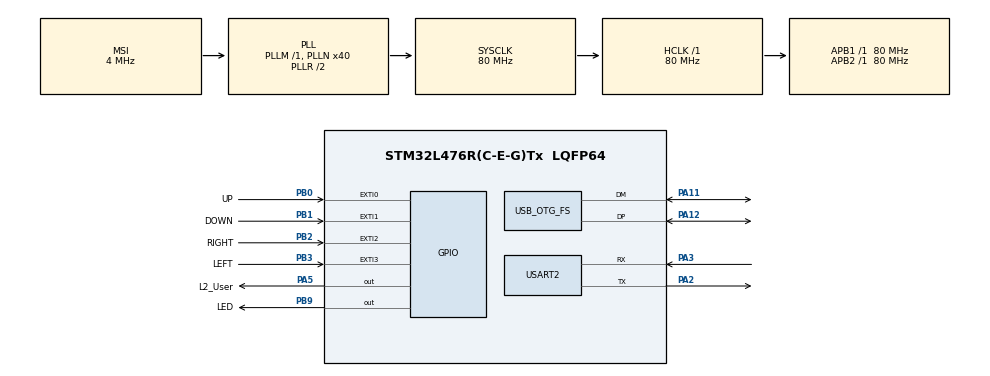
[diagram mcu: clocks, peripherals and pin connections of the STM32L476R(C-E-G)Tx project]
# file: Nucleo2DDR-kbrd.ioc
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Mcu.Family=STM32L4
Mcu.Name=STM32L476R(C-E-G)Tx
Mcu.Package=LQFP64
NVIC.EXTI0_IRQn=true\:0\:0\:false\:false\:true\:true\:true\:true
NVIC.EXTI1_IRQn=true\:0\:0\:false\:false\:true\:true\:true\:true
NVIC.EXTI2_IRQn=true\:0\:0\:false\:false\:true\:true\:true\:true
NVIC.EXTI3_IRQn=true\:0\:0\:false\:false\:true\:true\:true\:true
NVIC.OTG_FS_IRQn=true\:0\:0\:false\:false\:true\:false\:true\:true
NVIC.PriorityGroup=NVIC_PRIORITYGROUP_4
PA11.Mode=Device_Only
PA11.Signal=USB_OTG_FS_DM
PA12.Mode=Device_Only
PA12.Signal=USB_OTG_FS_DP
PA2.Mode=Asynchronous
PA2.Signal=USART2_TX
PA3.Mode=Asynchronous
PA3.Signal=USART2_RX
PA5.GPIO_Label=L2_User
PA5.Signal=GPIO_Output
PB0.GPIO_Label=UP
PB0.GPIO_ModeDefaultEXTI=GPIO_MODE_IT_RISING_FALLING
PB0.GPIO_PuPd=GPIO_PULLUP
PB0.Signal=GPXTI0
PB1.GPIO_Label=DOWN
PB1.GPIO_ModeDefaultEXTI=GPIO_MODE_IT_RISING_FALLING
PB1.GPIO_PuPd=GPIO_PULLUP
PB1.Signal=GPXTI1
PB2.GPIO_Label=RIGHT
PB2.GPIO_ModeDefaultEXTI=GPIO_MODE_IT_RISING_FALLING
PB2.GPIO_PuPd=GPIO_PULLUP
PB2.Signal=GPXTI2
PB3\ (JTDO-TRACESWO).GPIO_Label=LEFT
PB3\ (JTDO-TRACESWO).GPIO_ModeDefaultEXTI=GPIO_MODE_IT_RISING_FALLING
PB3\ (JTDO-TRACESWO).GPIO_PuPd=GPIO_PULLUP
PB3\ (JTDO-TRACESWO).Signal=GPXTI3
PB9.GPIO_Label=LED
PB9.Signal=GPIO_Output
PC14-OSC32_IN\ (PC14).Mode=LSE-External-Oscillator
PC14-OSC32_IN\ (PC14).Signal=RCC_OSC32_IN
PC15-OSC32_OUT\ (PC15).Mode=LSE-External-Oscillator
PC15-OSC32_OUT\ (PC15).Signal=RCC_OSC32_OUT
ProjectManager.HeapSize=0x200
ProjectManager.StackSize=0x400
ProjectManager.TargetToolchain=STM32CubeIDE
RCC.ADCFreq_Value=48000000
RCC.AHBFreq_Value=80000000
RCC.APB1Freq_Value=80000000
RCC.APB1TimFreq_Value=80000000
RCC.APB2Freq_Value=80000000
RCC.APB2TimFreq_Value=80000000
RCC.CortexFreq_Value=80000000
RCC.HCLKFreq_Value=80000000
RCC.HSE_VALUE=8000000
RCC.HSI_VALUE=16000000
RCC.MSI_VALUE=4000000
RCC.PLLN=40
RCC.PLLSAI1N=24
RCC.SYSCLKFreq_VALUE=80000000
RCC.SYSCLKSource=RCC_SYSCLKSOURCE_PLLCLK
RCC.USBFreq_Value=48000000
RCC.VCOOutputFreq_Value=160000000
USART2.VirtualMode-Asynchronous=VM_ASYNC
USB_DEVICE.CLASS_NAME_FS=CUSTOM_HID
USB_DEVICE.USBD_CUSTOM_HID_REPORT_DESC_SIZE=63
USB_DEVICE.VirtualMode=CustomHid
USB_DEVICE.VirtualModeFS=Custom_Hid_FS
USB_OTG_FS.VirtualMode=Device_Only
VP_USB_DEVICE_VS_USB_DEVICE_CUSTOM_HID_FS.Mode=CUSTOM_HID_FS
board=custom

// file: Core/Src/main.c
/* USER CODE BEGIN Header */
/**
  ******************************************************************************
  * @file           : main.c
  * @brief          : Main program body
  ******************************************************************************
  * @attention
  *
  * Copyright (c) 2026 STMicroelectronics.
  * All rights reserved.
  *
  * This software is licensed under terms that can be found in the LICENSE file
  * in the root directory of this software component.
  * If no LICENSE file comes with this software, it is provided AS-IS.
  *
  ******************************************************************************
  */
/* USER CODE END Header */
#include "main.h"
#include "usb_device.h"

/* USER CODE BEGIN Includes */
#include "usbd_customhid.h"
/* USER CODE END Includes */

/* USER CODE BEGIN PD */
//Définition des codes des touches
#define KEY_UP    0x52
#define KEY_DOWN  0x51
#define KEY_RIGHT 0x4F
#define KEY_LEFT  0x50
/* USER CODE END PD */

UART_HandleTypeDef huart2;

/* USER CODE BEGIN PV */
extern USBD_HandleTypeDef hUsbDeviceFS;	// Canal pour la communication USB
uint8_t keyboardReport[8] = {0};		// Buffer de 8 octets pour le rapport USB à envoyer
volatile uint8_t event_detected = 0;	// Signaler un changement d'état
/* USER CODE END PV */

void SystemClock_Config(void);
static void MX_GPIO_Init(void);
static void MX_USART2_UART_Init(void);

int main(void)
{

  /* MCU Configuration--------------------------------------------------------*/

  /* Reset of all peripherals, Initializes the Flash interface and the Systick. */
  HAL_Init();

  /* Configure the system clock */
  SystemClock_Config();

  /* Initialize all configured peripherals */
  MX_GPIO_Init();
  MX_USART2_UART_Init();
  MX_USB_DEVICE_Init();

  /* Infinite loop */
  while (1)
  {

    /* USER CODE BEGIN 3 */
	  if (event_detected){
	      HAL_Delay(20); // Anti-rebond basique
	      for (int i = 2; i < 8; i++) keyboardReport[i] = (int) NULL;

	      uint8_t key_index = 2;

	      // Vérification indépendante de chaque touche
	      if (HAL_GPIO_ReadPin(GPIOB, GPIO_PIN_0) == GPIO_PIN_RESET) {
	          keyboardReport[key_index++] = KEY_UP;
	      }
	      if (HAL_GPIO_ReadPin(GPIOB, GPIO_PIN_1) == GPIO_PIN_RESET) {
	          keyboardReport[key_index++] = KEY_DOWN;
	      }
	      if (HAL_GPIO_ReadPin(GPIOB, GPIO_PIN_2) == GPIO_PIN_RESET) {
	          keyboardReport[key_index++] = KEY_RIGHT;
	      }
	      if (HAL_GPIO_ReadPin(GPIOB, GPIO_PIN_3) == GPIO_PIN_RESET) {
	          keyboardReport[key_index++] = KEY_LEFT;
	      }

	      USBD_CUSTOM_HID_SendReport(&hUsbDeviceFS, keyboardReport, 8);
	      event_detected = 0;
	      if(keyboardReport[2]==(int)NULL){
		  	  HAL_GPIO_WritePin(GPIOA, GPIO_PIN_5, GPIO_PIN_RESET);
	      }
	      HAL_Delay(5);
	  }
  }
  /* USER CODE END 3 */
}

void SystemClock_Config(void)
{
  RCC_OscInitTypeDef RCC_OscInitStruct = {0};
  RCC_ClkInitTypeDef RCC_ClkInitStruct = {0};

  /** Configure the main internal regulator output voltage
  */
  if (HAL_PWREx_ControlVoltageScaling(PWR_REGULATOR_VOLTAGE_SCALE1) != HAL_OK)
  {
    Error_Handler();
  }

  /** Configure LSE Drive Capability
  */
  HAL_PWR_EnableBkUpAccess();
  __HAL_RCC_LSEDRIVE_CONFIG(RCC_LSEDRIVE_LOW);

  /** Initializes the RCC Oscillators according to the specified parameters
  * in the RCC_OscInitTypeDef structure.
  */
  RCC_OscInitStruct.OscillatorType = RCC_OSCILLATORTYPE_LSE|RCC_OSCILLATORTYPE_MSI;
  RCC_OscInitStruct.LSEState = RCC_LSE_ON;
  RCC_OscInitStruct.MSIState = RCC_MSI_ON;
  RCC_OscInitStruct.MSICalibrationValue = 0;
  RCC_OscInitStruct.MSIClockRange = RCC_MSIRANGE_6;
  RCC_OscInitStruct.PLL.PLLState = RCC_PLL_ON;
  RCC_OscInitStruct.PLL.PLLSource = RCC_PLLSOURCE_MSI;
  RCC_OscInitStruct.PLL.PLLM = 1;
  RCC_OscInitStruct.PLL.PLLN = 40;
  RCC_OscInitStruct.PLL.PLLP = RCC_PLLP_DIV7;
  RCC_OscInitStruct.PLL.PLLQ = RCC_PLLQ_DIV2;
  RCC_OscInitStruct.PLL.PLLR = RCC_PLLR_DIV2;
  if (HAL_RCC_OscConfig(&RCC_OscInitStruct) != HAL_OK)
  {
    Error_Handler();
  }

  /** Initializes the CPU, AHB and APB buses clocks
  */
  RCC_ClkInitStruct.ClockType = RCC_CLOCKTYPE_HCLK|RCC_CLOCKTYPE_SYSCLK
                              |RCC_CLOCKTYPE_PCLK1|RCC_CLOCKTYPE_PCLK2;
  RCC_ClkInitStruct.SYSCLKSource = RCC_SYSCLKSOURCE_PLLCLK;
  RCC_ClkInitStruct.AHBCLKDivider = RCC_SYSCLK_DIV1;
  RCC_ClkInitStruct.APB1CLKDivider = RCC_HCLK_DIV1;
  RCC_ClkInitStruct.APB2CLKDivider = RCC_HCLK_DIV1;

  if (HAL_RCC_ClockConfig(&RCC_ClkInitStruct, FLASH_LATENCY_4) != HAL_OK)
  {
    Error_Handler();
  }

  /** Enable MSI Auto calibration
  */
  HAL_RCCEx_EnableMSIPLLMode();
}

static void MX_USART2_UART_Init(void)
{

  huart2.Instance = USART2;
  huart2.Init.BaudRate = 115200;
  huart2.Init.WordLength = UART_WORDLENGTH_8B;
  huart2.Init.StopBits = UART_STOPBITS_1;
  huart2.Init.Parity = UART_PARITY_NONE;
  huart2.Init.Mode = UART_MODE_TX_RX;
  huart2.Init.HwFlowCtl = UART_HWCONTROL_NONE;
  huart2.Init.OverSampling = UART_OVERSAMPLING_16;
  huart2.Init.OneBitSampling = UART_ONE_BIT_SAMPLE_DISABLE;
  huart2.AdvancedInit.AdvFeatureInit = UART_ADVFEATURE_NO_INIT;
  if (HAL_UART_Init(&huart2) != HAL_OK)
  {
    Error_Handler();
  }

}

static void MX_GPIO_Init(void)
{
  GPIO_InitTypeDef GPIO_InitStruct = {0};

  /* GPIO Ports Clock Enable */
  __HAL_RCC_GPIOC_CLK_ENABLE();
  __HAL_RCC_GPIOA_CLK_ENABLE();
  __HAL_RCC_GPIOB_CLK_ENABLE();

  /*Configure GPIO pin Output Level */
  HAL_GPIO_WritePin(L2_User_GPIO_Port, L2_User_Pin, GPIO_PIN_RESET);

  /*Configure GPIO pin Output Level */
  HAL_GPIO_WritePin(LED_GPIO_Port, LED_Pin, GPIO_PIN_RESET);

  /*Configure GPIO pin : L2_User_Pin */
  GPIO_InitStruct.Pin = L2_User_Pin;
  GPIO_InitStruct.Mode = GPIO_MODE_OUTPUT_PP;
  GPIO_InitStruct.Pull = GPIO_NOPULL;
  GPIO_InitStruct.Speed = GPIO_SPEED_FREQ_LOW;
  HAL_GPIO_Init(L2_User_GPIO_Port, &GPIO_InitStruct);

  /*Configure GPIO pins : UP_Pin DOWN_Pin RIGHT_Pin LEFT_Pin */
  GPIO_InitStruct.Pin = UP_Pin|DOWN_Pin|RIGHT_Pin|LEFT_Pin;
  GPIO_InitStruct.Mode = GPIO_MODE_IT_RISING_FALLING;
  GPIO_InitStruct.Pull = GPIO_PULLUP;
  HAL_GPIO_Init(GPIOB, &GPIO_InitStruct);

  /*Configure GPIO pin : LED_Pin */
  GPIO_InitStruct.Pin = LED_Pin;
  GPIO_InitStruct.Mode = GPIO_MODE_OUTPUT_PP;
  GPIO_InitStruct.Pull = GPIO_NOPULL;
  GPIO_InitStruct.Speed = GPIO_SPEED_FREQ_LOW;
  HAL_GPIO_Init(LED_GPIO_Port, &GPIO_InitStruct);

  /* EXTI interrupt init*/
  HAL_NVIC_SetPriority(EXTI0_IRQn, 0, 0);
  HAL_NVIC_EnableIRQ(EXTI0_IRQn);

  HAL_NVIC_SetPriority(EXTI1_IRQn, 0, 0);
  HAL_NVIC_EnableIRQ(EXTI1_IRQn);

  HAL_NVIC_SetPriority(EXTI2_IRQn, 0, 0);
  HAL_NVIC_EnableIRQ(EXTI2_IRQn);

  HAL_NVIC_SetPriority(EXTI3_IRQn, 0, 0);
  HAL_NVIC_EnableIRQ(EXTI3_IRQn);

}

/* USER CODE BEGIN 4 */
void HAL_GPIO_EXTI_Callback(uint16_t GPIO_Pin)
{
    if (GPIO_Pin == GPIO_PIN_0 || GPIO_Pin == GPIO_PIN_1 || GPIO_Pin == GPIO_PIN_2 || GPIO_Pin == GPIO_PIN_3){
        event_detected = 1;
        HAL_GPIO_WritePin(GPIOA, GPIO_PIN_5, GPIO_PIN_SET);
    }
}
/* USER CODE END 4 */

void Error_Handler(void)
{
  __disable_irq();
  while (1)
  {
  }
}
